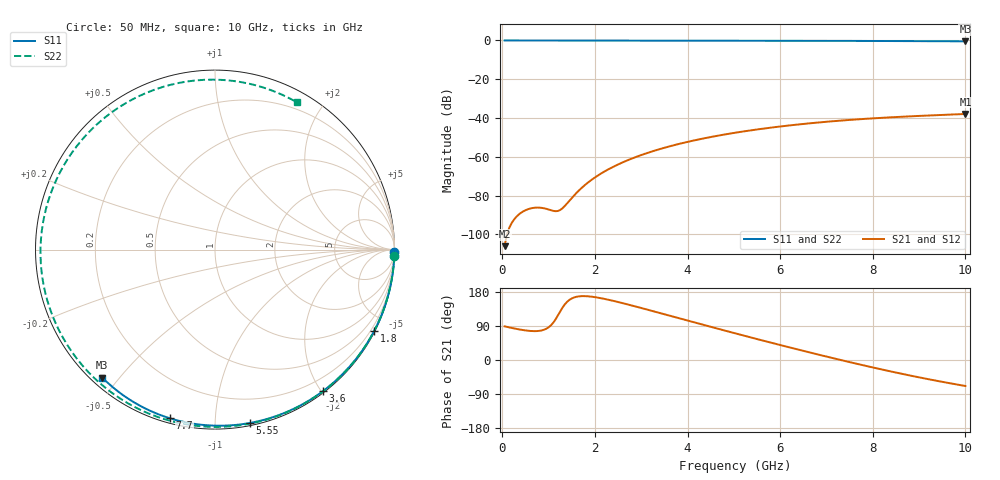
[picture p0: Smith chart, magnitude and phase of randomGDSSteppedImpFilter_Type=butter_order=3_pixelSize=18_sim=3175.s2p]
! freq	dB(S11)	phase(S11)	dB(S12)	phase(S12)
!  dB(S21)	phase(S21)	dB(S22)	phase(S22)
!S-par simulation data
#  GHz  S  DB  R 50
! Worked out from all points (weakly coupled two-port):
!   200 points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, 50 MHz to 10 GHz, reference 50 ohm
!   highest |S21| = -37.93 dB at 10 GHz (marker M1); lowest = -106.1 dB at 50 MHz (marker M2)
!   lowest |S11| = -0.4 dB at 10 GHz (marker M3), VSWR 39.09, Z = 1.54 - j22.6 ohm
!   |S11| at or under -10 dB: nowhere
!   |S22| runs from -0.5 to 0.0 dB; largest |S21 - S12| = 0
!   S11 on the Smith chart (normalised r, x): 50 MHz: open; 1.8 GHz: 0.04, -4.18; 3.6 GHz: 0.02, -2.02; 5.55 GHz: 0.02, -1.22; 7.7 GHz: 0.02, -0.77; 10 GHz: 0.03, -0.45
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0.05  -0.00 -0.8  -106.12 88.8  -106.12 88.8  -0.00 -2.0
0.4  -0.01 -6.1  -88.97 79.9  -88.97 79.9  -0.02 -15.9
0.75  -0.01 -11.3  -86.21 76.3  -86.21 76.3  -0.04 -29.6
1.15  -0.02 -17.3  -88.08 107.2  -88.08 107.2  -0.06 -44.8
1.55  -0.03 -23.2  -79.94 165.0  -79.94 165.0  -0.07 -59.5
1.75  -0.03 -26.2  -75.28 168.6  -75.28 168.6  -0.08 -66.7
1.8  -0.03 -26.9  -74.27 168.5  -74.27 168.5  -0.08 -68.4
2.1  -0.04 -31.3  -69.13 163.8  -69.13 163.8  -0.09 -78.7
2.45  -0.05 -36.4  -64.54 154.5  -64.54 154.5  -0.11 -90.3
2.9  -0.06 -42.8  -59.98 140.5  -59.98 140.5  -0.12 -104.5
3.4  -0.07 -49.9  -56.04 124.1  -56.04 124.1  -0.14 -119.5
3.6  -0.07 -52.6  -54.70 117.4  -54.70 117.4  -0.15 -125.2
4.35  -0.09 -62.9  -50.52 92.5  -50.52 92.5  -0.18 -145.9
5.05  -0.11 -72.2  -47.52 69.7  -47.52 69.7  -0.21 -164.3
5.55  -0.13 -78.6  -45.75 53.7  -45.75 53.7  -0.24 -177.1
6.1  -0.15 -85.6  -44.10 36.4  -44.10 36.4  -0.27 168.9
6.7  -0.18 -93.0  -42.60 18.0  -42.60 18.0  -0.31 153.5
7.7  -0.24 -105.0  -40.65 -11.3  -40.65 -11.3  -0.38 127.2
8.35  -0.29 -112.6  -39.70 -29.2  -39.70 -29.2  -0.43 109.3
8.8  -0.32 -117.8  -39.15 -40.8  -39.15 -40.8  -0.46 96.5
9.2  -0.36 -122.3  -38.71 -50.7  -38.71 -50.7  -0.49 84.9
10  -0.44 -131.3  -37.93 -68.6  -37.93 -68.6  -0.55 60.9
